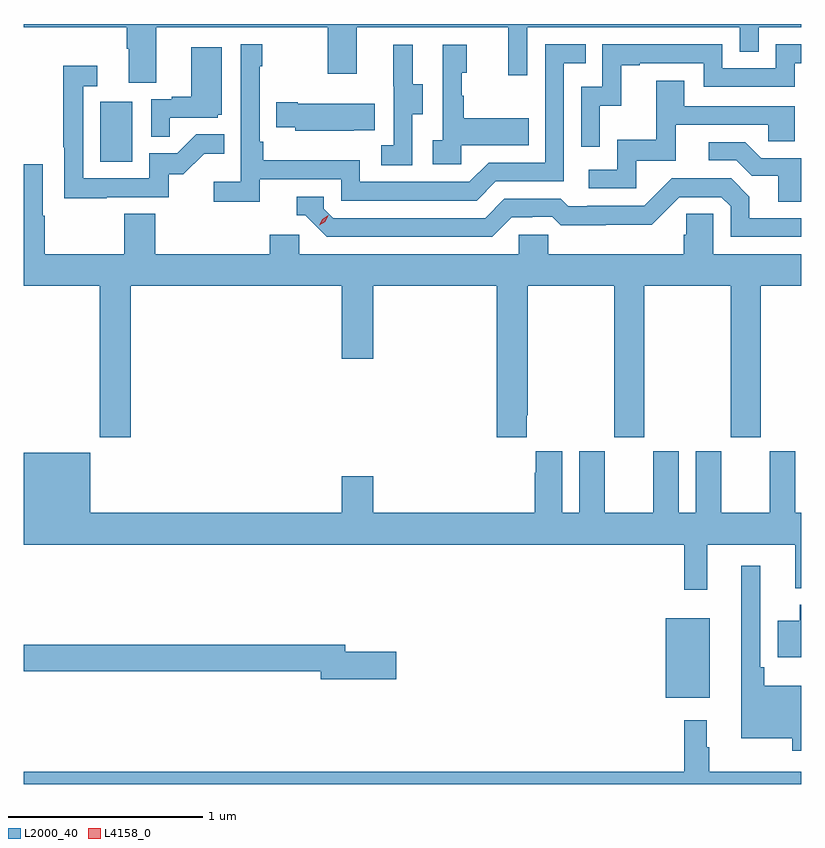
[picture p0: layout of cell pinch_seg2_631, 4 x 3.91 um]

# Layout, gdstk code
import gdstk
lib = gdstk.Library(unit=1e-6, precision=1e-09)
def R(c, l, rs):  # rectangles x0, y0, x1, y1
    for r in rs: c.add(gdstk.rectangle(r[:2], r[2:], *l))
def P(c, l, *ps):  # polygons
    for p in ps: c.add(gdstk.Polygon(p, *l))
L2000_40 = (2000, 40)
L4158_0 = (4158, 0)

pinch_seg2_631 = lib.new_cell('pinch_seg2_631')
R(pinch_seg2_631, L2000_40, [(1065.776,584.243,1066.003,584.653), (1062.866,587.004,1063.03,587.311)])
P(pinch_seg2_631, L2000_40, [(1063.153,587.696),(1064.038,587.696),(1064.038,587.457),(1064.185,587.457),(1064.185,587.696),(1064.966,587.696),(1064.966,587.448),(1065.063,587.448),(1065.063,587.696),(1066.158,587.696),(1066.158,587.569),(1066.254,587.569),(1066.254,587.696),(1066.473,587.696),(1066.473,587.712),(1062.473,587.712),(1062.473,587.696),(1063.001,587.696),(1063.001,587.584),(1063.013,587.584),(1063.013,587.41),(1063.153,587.41)],
  [(1063.688,586.914),(1064.106,586.914),(1064.106,586.803),(1064.803,586.803),(1064.902,586.902),(1065.252,586.902),(1065.252,587.511),(1065.365,587.511),(1065.365,587.607),(1065.156,587.607),(1065.156,586.998),(1064.865,586.998),(1064.766,586.899),(1064.202,586.899),(1064.202,587.011),(1063.706,587.011),(1063.706,587.107),(1063.686,587.107),(1063.686,587.495),(1063.699,587.495),(1063.699,587.608),(1063.59,587.608),(1063.59,586.9),(1063.449,586.9),(1063.449,586.798),(1063.688,586.798)],
  [(1065.438,587.291),(1065.548,587.291),(1065.548,587.499),(1065.643,587.499),(1065.643,587.511),(1065.972,587.511),(1065.972,587.388),(1066.44,587.388),(1066.44,587.511),(1066.473,587.511),(1066.473,587.607),(1066.344,587.607),(1066.344,587.484),(1066.068,587.484),(1066.068,587.607),(1065.45,587.607),(1065.45,587.388),(1065.342,587.388),(1065.342,587.079),(1065.438,587.079)],
  [(1064.724,587.087),(1065.071,587.087),(1065.071,587.227),(1064.737,587.227),(1064.737,587.342),(1064.727,587.342),(1064.727,587.46),(1064.752,587.46),(1064.752,587.605),(1064.628,587.605),(1064.628,587.114),(1064.577,587.114),(1064.577,586.989),(1064.724,586.989)],
  [(1064.472,587.248),(1064.527,587.248),(1064.527,587.403),(1064.473,587.403),(1064.473,587.605),(1064.375,587.605),(1064.375,587.391),(1064.376,587.391),(1064.376,587.087),(1064.313,587.087),(1064.313,586.984),(1064.472,586.984)],
  [(1063.223,587.229),(1063.47,587.229),(1063.47,587.244),(1063.492,587.244),(1063.492,587.593),(1063.334,587.593),(1063.334,587.338),(1063.235,587.338),(1063.235,587.325),(1063.128,587.325),(1063.128,587.131),(1063.223,587.131)],
  [(1062.899,586.821),(1063.218,586.821),(1063.218,586.938),(1063.294,586.938),(1063.401,587.045),(1063.505,587.045),(1063.505,587.144),(1063.361,587.144),(1063.263,587.046),(1063.119,587.046),(1063.119,586.917),(1062.777,586.917),(1062.777,587.391),(1062.85,587.391),(1062.85,587.497),(1062.676,587.497),(1062.676,587.077),(1062.681,587.077),(1062.681,586.816),(1062.899,586.816)],
  [(1065.624,587.007),(1065.829,587.007),(1065.829,587.193),(1066.303,587.193),(1066.303,587.109),(1066.44,587.109),(1066.44,587.289),(1065.871,587.289),(1065.871,587.419),(1065.727,587.419),(1065.727,587.116),(1065.528,587.116),(1065.528,586.962),(1065.381,586.962),(1065.381,586.866),(1065.624,586.866)],
  [(1064.171,587.165),(1064.279,587.165),(1064.279,587.302),(1063.882,587.302),(1063.882,587.31),(1063.771,587.31),(1063.771,587.18),(1063.869,587.18),(1063.869,587.162),(1064.171,587.162)],
  [(1066.473,587.022),(1066.267,587.022),(1066.186,587.103),(1065.999,587.103),(1065.999,587.01),(1066.14,587.01),(1066.22,586.93),(1066.355,586.93),(1066.355,586.798),(1066.473,586.798)],
  [(1063.022,586.364),(1064.108,586.364),(1064.108,585.99),(1064.272,585.99),(1064.272,586.364),(1064.906,586.364),(1064.906,585.585),(1065.061,585.585),(1065.061,585.697),(1065.066,585.697),(1065.066,586.364),(1065.511,586.364),(1065.511,585.585),(1065.666,585.585),(1065.666,586.364),(1066.111,586.364),(1066.111,585.585),(1066.266,585.585),(1066.266,586.364),(1066.473,586.364),(1066.473,586.528),(1066.02,586.528),(1066.02,586.736),(1065.883,586.736),(1065.883,586.626),(1065.869,586.626),(1065.869,586.528),(1065.171,586.528),(1065.171,586.626),(1065.021,586.626),(1065.021,586.528),(1063.89,586.528),(1063.89,586.626),(1063.739,586.626),(1063.739,586.528),(1063.148,586.528),(1063.148,586.736),(1062.988,586.736),(1062.988,586.528),(1062.579,586.528),(1062.579,586.724),(1062.571,586.724),(1062.571,586.99),(1062.473,586.99),(1062.473,586.364),(1062.862,586.364),(1062.862,585.585),(1063.022,585.585)],
  [(1064.983,586.716),(1065.09,586.716),(1065.09,586.719),(1065.193,586.719),(1065.235,586.677),(1065.468,586.677),(1065.468,586.679),(1065.704,586.679),(1065.846,586.821),(1066.062,586.821),(1066.11,586.773),(1066.11,586.617),(1066.473,586.617),(1066.473,586.713),(1066.207,586.713),(1066.207,586.823),(1066.113,586.917),(1065.807,586.917),(1065.666,586.776),(1065.373,586.776),(1065.373,586.773),(1065.274,586.773),(1065.235,586.812),(1064.946,586.812),(1064.847,586.713),(1064.064,586.713),(1064.016,586.761),(1064.016,586.824),(1063.877,586.824),(1063.877,586.728),(1063.92,586.728),(1064.031,586.617),(1064.884,586.617)],
  [(1065.932,585.196),(1065.844,585.196),(1065.844,585.514),(1065.713,585.514),(1065.713,585.196),(1065.463,585.196),(1065.463,585.514),(1065.332,585.514),(1065.332,585.196),(1065.244,585.196),(1065.244,585.514),(1065.107,585.514),(1065.107,585.401),(1065.101,585.401),(1065.101,585.196),(1064.272,585.196),(1064.272,585.385),(1064.108,585.385),(1064.108,585.196),(1062.814,585.196),(1062.814,585.505),(1062.473,585.505),(1062.473,585.032),(1065.871,585.032),(1065.871,584.799),(1065.989,584.799),(1065.989,585.032),(1066.442,585.032),(1066.442,584.807),(1066.473,584.807),(1066.473,585.196),(1066.444,585.196),(1066.444,585.514),(1066.313,585.514),(1066.313,585.196),(1066.063,585.196),(1066.063,585.514),(1065.932,585.514)],
  [(1066.473,584.305),(1066.283,584.305),(1066.283,584.401),(1066.263,584.401),(1066.263,584.923),(1066.166,584.923),(1066.166,584.036),(1066.428,584.036),(1066.428,583.971),(1066.473,583.971)],
  [(1066.473,584.722),(1066.466,584.722),(1066.466,584.641),(1066.352,584.641),(1066.352,584.453),(1066.473,584.453)],
  [(1064.389,584.48),(1064.128,584.48),(1064.128,584.516),(1062.473,584.516),(1062.473,584.38),(1064,584.38),(1064,584.338),(1064.389,584.338)],
  [(1066.473,583.864),(1066,583.864),(1066,583.988),(1065.988,583.988),(1065.988,584.128),(1065.871,584.128),(1065.871,583.864),(1062.473,583.864),(1062.473,583.8),(1066.473,583.8)])
P(pinch_seg2_631, L4158_0, [(1063.993,586.675),(1063.993,586.675),(1064.008,586.708),(1064.039,586.728),(1064.039,586.728),(1064.039,586.727),(1064.024,586.695),(1063.993,586.675)])

lib.write_gds('pinch_seg2_631.gds')
